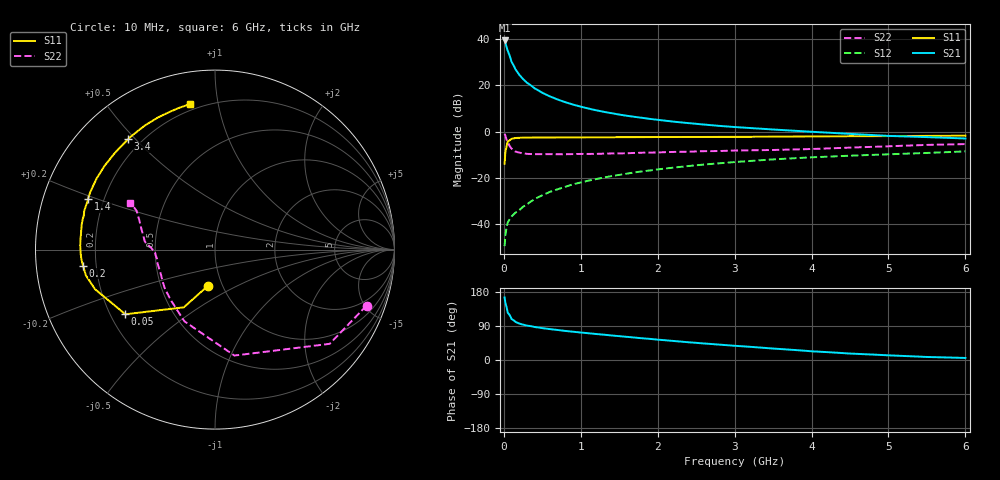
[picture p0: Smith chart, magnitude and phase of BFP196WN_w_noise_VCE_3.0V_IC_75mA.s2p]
! Infineon Technologies  Discrete & RF Semiconductors
! BFP196WN
! VCE =  3.0 V,  IC =  75 mA
! Common Emitter S-Parameters:  Jan 2017
# GHz  S  MA  R  50
!  f  S11  S21  S12  S22
! GHz  MAG  ANG  MAG  ANG  MAG  ANG  MAG  ANG
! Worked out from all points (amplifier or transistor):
!   77 points, 10 MHz to 6 GHz, reference 50 ohm
!   highest |S21| = 39.4 dB at 10 MHz (marker M1)
!   |S21| within 3 dB of that: start of sweep to 37.2 MHz
!   unconditionally stable (mu >= 1): 493.9 MHz to 2.698 GHz
!   at 130 MHz: K = 0.67, MSG = 32.0 dB, |S12| = -35.6 dB
!   at 2.2 GHz: K = 1.02, MAG = 9.1 dB, |S12| = -15.5 dB
!   at 6 GHz: K = 0.93, MSG = 2.8 dB, |S12| = -8.5 dB
!   lowest NFmin = 1.53 dB at 450 MHz
!   S11 on the Smith chart (normalised r, x): 10 MHz: 0.86, -0.36; 50 MHz: 0.26, -0.30; 200 MHz: 0.15, -0.06; 1.4 GHz: 0.14, +0.19; 3.4 GHz: 0.15, +0.48; 6 GHz: 0.17, +0.83
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0.01  0.2045 -100.8  93.3 165.0  0.0034 78.8  0.9002 -20.3
0.02  0.3658 -118.4  83.19 150.6  0.0059 65.8  0.827 -39.4
0.05  0.6162 -144.2  56.24 124.7  0.011 53.0  0.6001 -79.6
0.1  0.7038 -161.7  32.37 108.0  0.0148 51.4  0.4344 -113.1
0.15  0.7339 -168.8  22.44 100.7  0.0179 55.8  0.3744 -131.0
0.2  0.7407 -173.1  17 96.3  0.0203 59.5  0.3545 -141.7
0.25  0.7463 -175.9  13.69 93.2  0.0241 62.3  0.3422 -148.3
0.3  0.7485 -178.1  11.46 90.9  0.0272 64.6  0.3333 -153.8
0.4  0.7515 178.3  8.651 87.1  0.0353 67.9  0.3289 -160.1
0.5  0.7517 175.5  6.926 84.1  0.0425 69.5  0.329 -164.5
0.6  0.7519 173.2  5.789 81.5  0.0506 70.1  0.3288 -167.8
0.7  0.7537 171.2  4.957 79.2  0.0575 71.0  0.3265 -170.0
0.9  0.7562 167.1  3.854 74.6  0.0736 70.7  0.3299 -173.1
1.1  0.7597 163.6  3.168 70.6  0.0882 70.6  0.3323 -175.7
1.4  0.761 158.4  2.514 64.8  0.1106 68.8  0.3402 -178.5
1.7  0.7654 153.5  2.098 59.2  0.1327 66.8  0.3493 179.7
2.1  0.7693 147.4  1.733 52.1  0.1609 63.4  0.3625 177.5
3.1  0.7772 132.6  1.234 36.2  0.2281 54.5  0.3957 172.7
3.4  0.7824 128.2  1.147 31.8  0.2469 51.9  0.4022 170.5
4.1  0.7949 118.4  0.979 21.9  0.2854 45.5  0.4303 163.3
5.1  0.8085 107.6  0.804 11.5  0.3309 37.7  0.4928 153.4
6  0.8227 99.8  0.716 5.4  0.3768 31.8  0.5421 151.4
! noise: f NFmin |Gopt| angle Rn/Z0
0.45  1.53  0.57  -176  0.05
0.9  1.66  0.59  -169  0.06
1.9  2.6  0.7  -147  0.2
2.4  3.41  0.71  -138  0.33
